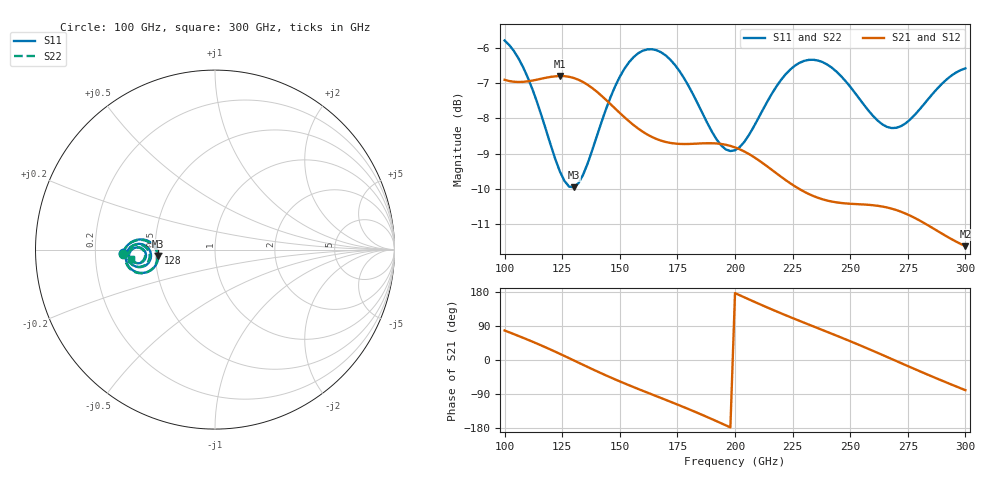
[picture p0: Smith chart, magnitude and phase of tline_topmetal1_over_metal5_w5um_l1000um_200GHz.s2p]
#  GHZ S DB R 50
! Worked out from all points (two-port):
!   101 points, 100 GHz to 300 GHz, reference 50 ohm
!   highest |S21| = -6.80 dB at 124 GHz (marker M1); lowest = -11.6 dB at 300 GHz (marker M2)
!   |S21| within 3 dB of the highest: start of sweep to 223.2 GHz
!   lowest |S11| = -10.0 dB at 130 GHz (marker M3), VSWR 1.93, Z = 25.9 - j2.05 ohm
!   |S11| at or under -10 dB: nowhere
!   |S22| runs from -9.8 to -5.8 dB; largest |S21 - S12| = 5.3e-14
!   S11 on the Smith chart (normalised r, x): 100 GHz: 0.32, -0.02; 128 GHz: 0.52, -0.02; 300 GHz: 0.36, -0.05
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100  -5.79 -177.8  -6.91 77.9  -6.91 77.9  -5.76 -177.5
112  -7.16 172.9  -6.93 48.6  -6.93 48.6  -7.11 173.3
124  -9.50 176.9  -6.80 16.2  -6.80 16.2  -9.41 177.3
128  -9.93 -177.0  -6.82 4.8  -6.82 4.8  -9.82 -176.7
130  -9.95 -173.6  -6.85 -1.0  -6.85 -1.0  -9.84 -173.3
134  -9.60 -167.3  -6.97 -12.5  -6.97 -12.5  -9.50 -167.2
142  -8.11 -161.7  -7.35 -35.1  -7.35 -35.1  -8.04 -161.6
150  -6.82 -164.1  -7.84 -56.5  -7.84 -56.5  -6.76 -163.9
158  -6.15 -169.8  -8.29 -76.5  -8.29 -76.5  -6.10 -169.5
168  -6.13 -177.5  -8.63 -100.5  -8.63 -100.5  -6.06 -177.1
178  -6.87 176.7  -8.72 -124.9  -8.72 -124.9  -6.78 177.3
186  -7.87 175.9  -8.71 -145.4  -8.71 -145.4  -7.74 176.4
200  -8.90 -173.8  -8.82 176.6  -8.82 176.6  -8.72 -173.8
208  -8.25 -167.8  -9.09 154.6  -9.09 154.6  -8.10 -168.1
216  -7.30 -166.9  -9.46 133.4  -9.46 133.4  -7.19 -167.2
224  -6.61 -169.7  -9.84 113.1  -9.84 113.1  -6.53 -170.0
234  -6.34 -175.1  -10.20 88.7  -10.20 88.7  -6.27 -175.2
250  -7.10 178.5  -10.42 49.5  -10.42 49.5  -7.02 178.5
260  -7.93 179.7  -10.46 23.9  -10.46 23.9  -7.83 179.7
268  -8.27 -176.1  -10.55 2.7  -10.55 2.7  -8.16 -176.2
284  -7.44 -169.8  -11.04 -39.6  -11.04 -39.6  -7.35 -170.1
300  -6.58 -173.6  -11.62 -79.6  -11.62 -79.6  -6.52 -173.8
